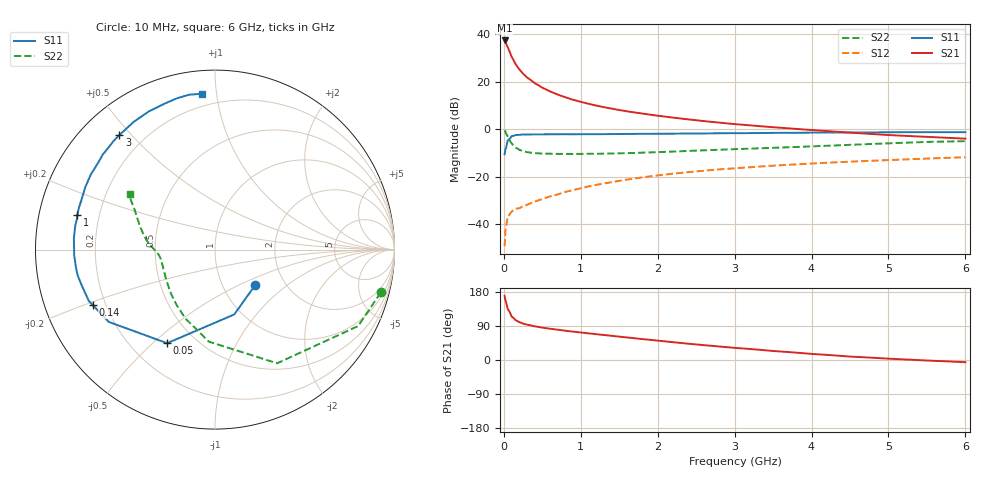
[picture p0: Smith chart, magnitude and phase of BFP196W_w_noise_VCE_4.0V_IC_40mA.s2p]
! Infineon Technologies  Discrete & RF Semiconductors
! BFP196W
! VCE =  4.0 V,  IC =  40 mA
! Common Emitter S-Parameters:  Jan 2017
# GHz  S  MA  R  50
!  f  S11  S21  S12  S22
! GHz  MAG  ANG  MAG  ANG  MAG  ANG  MAG  ANG
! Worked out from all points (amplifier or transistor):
!   77 points, 10 MHz to 6 GHz, reference 50 ohm
!   highest |S21| = 37.4 dB at 10 MHz (marker M1)
!   |S21| within 3 dB of that: start of sweep to 52.4 MHz
!   unconditionally stable (mu >= 1): 698.2 MHz to 3.311 GHz
!   at 130 MHz: K = 0.38, MSG = 31.4 dB, |S12| = -33.9 dB
!   at 2.2 GHz: K = 1.05, MAG = 10.5 dB, |S12| = -18.6 dB
!   at 6 GHz: K = 0.94, MSG = 3.9 dB, |S12| = -11.7 dB
!   lowest NFmin = 1.24 dB at 450 MHz
!   S11 on the Smith chart (normalised r, x): 10 MHz: 1.41, -0.62; 50 MHz: 0.35, -0.56; 140 MHz: 0.15, -0.21; 1 GHz: 0.12, +0.12; 3 GHz: 0.11, +0.46; 6 GHz: 0.13, +0.91
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0.01  0.2991 -41.9  74.08 169.3  0.0035 80.4  0.9541 -14.5
0.02  0.3769 -73.5  70.19 158.2  0.007 68.4  0.9042 -28.1
0.05  0.5859 -117.1  53.51 134.5  0.0142 51.3  0.722 -61.3
0.1  0.7161 -145.8  33.86 114.9  0.0186 42.4  0.5141 -93.8
0.14  0.7478 -155.6  25.9 108.1  0.0209 39.2  0.4324 -108.7
0.15  0.759 -157.9  23.99 105.7  0.0215 38.5  0.4176 -113.3
0.2  0.7685 -164.8  18.35 100.0  0.0219 41.5  0.3737 -125.4
0.25  0.7787 -169.5  14.84 96.1  0.0244 42.6  0.348 -134.4
0.3  0.7811 -172.8  12.42 93.3  0.0259 43.8  0.3324 -140.8
0.4  0.7852 -177.7  9.403 88.8  0.0301 48.9  0.3175 -149.6
0.5  0.7857 178.5  7.532 85.4  0.0344 52.9  0.3099 -155.2
0.6  0.7887 175.6  6.302 82.5  0.0389 54.9  0.308 -159.2
0.8  0.7899 170.5  4.731 77.3  0.0484 58.7  0.3051 -164.4
1  0.7905 166.0  3.794 72.6  0.0576 60.0  0.3052 -168.0
1.1  0.7923 163.9  3.455 70.4  0.0632 60.6  0.3063 -169.2
1.5  0.7984 156.1  2.551 61.7  0.0829 59.8  0.3137 -174.1
2.1  0.81 144.7  1.851 49.1  0.1122 56.6  0.3367 -179.8
3  0.8312 129.9  1.291 32.0  0.152 49.3  0.3839 172.4
3.1  0.8326 128.4  1.253 30.6  0.156 48.4  0.3887 171.4
4.1  0.854 114.2  0.946 14.8  0.195 40.3  0.4454 161.4
5.1  0.8696 103.4  0.746 2.6  0.2294 32.3  0.5161 151.9
6  0.8714 94.9  0.638 -5.8  0.2599 25.3  0.5658 147.0
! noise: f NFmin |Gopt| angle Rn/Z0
0.45  1.24  0.48  -179  0.06
0.9  1.39  0.54  -173  0.06
1.9  2.21  0.69  -150  0.14
2.4  2.61  0.73  -145  0.23
